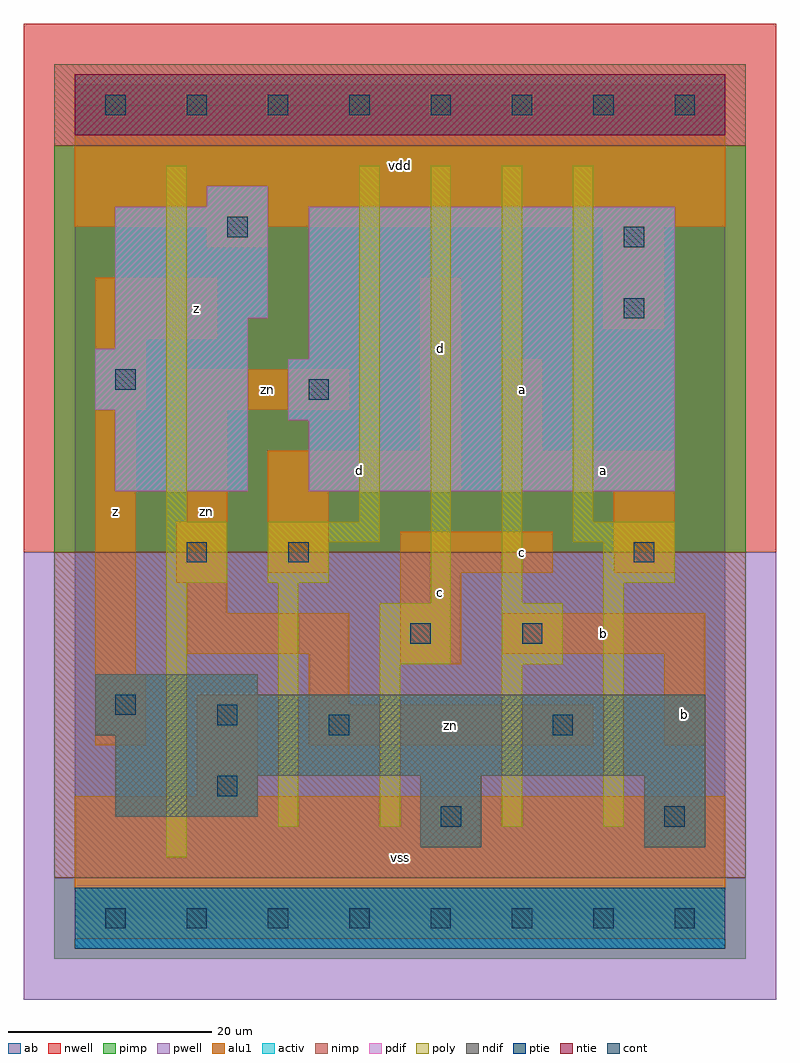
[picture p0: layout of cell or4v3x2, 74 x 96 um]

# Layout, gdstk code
import gdstk
lib = gdstk.Library(unit=1e-6, precision=1e-09)
def R(c, l, rs):  # rectangles x0, y0, x1, y1
    for r in rs: c.add(gdstk.rectangle(r[:2], r[2:], *l))
def A(c, l, x, y, w, h, nx, ny, dx, dy):  # array of equal rectangles
    R(c, l, [(x+i*dx, y+j*dy, x+i*dx+w, y+j*dy+h) for i in range(nx) for j in range(ny)])
ndif = (3, 0)
pdif = (4, 0)
ntie = (5, 0)
ptie = (6, 0)
cont = (25, 0)
pwell = (41, 0)
nwell = (42, 0)
activ = (43, 0)
pimp = (44, 0)
nimp = (45, 0)
poly = (46, 0)
alu1 = (49, 0)
ab = (63, 0)

or4v3x2 = lib.new_cell('or4v3x2')
R(or4v3x2, ndif, [(34,7,40,14), (56,7,62,14), (4,10,18,14), (4,14,62,18), (2,18,62,22), (2,22,18,24)])
R(or4v3x2, pdif, [(4,42,17,50), (23,42,59,49), (21,49,59,55), (2,50,17,56), (23,55,59,70), (4,56,17,59), (4,59,19,70), (13,70,19,72)])
R(or4v3x2, ntie, [(0,77,64,83)])
R(or4v3x2, ptie, [(0,-3,64,3)])
A(or4v3x2, cont, 3, -1, 2, 2, 8, 2, 8, 80)
R(or4v3x2, cont, [(36,9,38,11), (58,9,60,11), (14,12,16,14), (25,18,27,20), (47,18,49,20), (14,19,16,21), (4,20,6,22), (33,27,35,29), (44,27,46,29), (11,35,13,37), (21,35,23,37), (55,35,57,37), (23,51,25,53), (4,52,6,54), (54,59,56,61), (54,66,56,68), (15,67,17,69)])
R(or4v3x2, pwell, [(-5,-8,69,36)])
R(or4v3x2, nwell, [(-5,36,69,88)])
R(or4v3x2, activ, [(0,-3,64,3), (34,7,40,14), (56,7,62,14), (4,10,18,14), (4,14,62,18), (2,18,62,22), (2,22,18,24), (4,42,17,50), (23,42,59,49), (21,49,59,55), (2,50,17,56), (23,55,59,70), (4,56,17,59), (4,59,19,70), (13,70,19,72), (0,77,64,83)])
R(or4v3x2, pimp, [(-2,-4,66,4), (-2,36,66,76)])
R(or4v3x2, nimp, [(-2,4,66,36), (-2,76,66,84)])
R(or4v3x2, poly, [(9,6,11,33), (20,9,22,33), (30,9,32,25), (42,9,44,25), (52,9,54,33), (30,25,37,31), (42,25,48,31), (35,31,37,74), (42,31,44,74), (9,33,15,39), (19,33,25,37), (52,33,59,37), (19,37,30,39), (49,37,59,39), (9,39,11,74), (28,39,30,74), (49,39,51,74)])
R(or4v3x2, alu1, [(0,-2,64,12), (12,12,18,22), (2,17,7,24), (23,17,51,21), (58,17,62,26), (23,21,27,26), (2,24,6,50), (32,25,38,34), (11,26,27,30), (42,26,62,30), (11,30,15,33), (10,33,15,39), (19,34,25,42), (32,34,47,38), (53,34,59,42), (11,39,15,50), (19,42,38,46), (42,42,59,46), (34,46,38,63), (42,46,46,55), (2,50,7,57), (11,50,27,54), (2,57,14,63), (52,58,58,68), (13,66,19,68), (0,68,64,82)])
R(or4v3x2, ab, [(0,0,64,80)])
or4v3x2.add(gdstk.Label('zn', (13,40), layer=49, texttype=0))
or4v3x2.add(gdstk.Label('zn', (19,52), layer=49, texttype=0))
or4v3x2.add(gdstk.Label('zn', (37,19), layer=49, texttype=0))
or4v3x2.add(gdstk.Label('z', (4,40), layer=49, texttype=0))
or4v3x2.add(gdstk.Label('z', (12,60), layer=49, texttype=0))
or4v3x2.add(gdstk.Label('d', (28,44), layer=49, texttype=0))
or4v3x2.add(gdstk.Label('vss', (32,6), layer=49, texttype=0))
or4v3x2.add(gdstk.Label('c', (36,32), layer=49, texttype=0))
or4v3x2.add(gdstk.Label('c', (44,36), layer=49, texttype=0))
or4v3x2.add(gdstk.Label('d', (36,56), layer=49, texttype=0))
or4v3x2.add(gdstk.Label('a', (44,52), layer=49, texttype=0))
or4v3x2.add(gdstk.Label('vdd', (32,74), layer=49, texttype=0))
or4v3x2.add(gdstk.Label('b', (60,20), layer=49, texttype=0))
or4v3x2.add(gdstk.Label('b', (52,28), layer=49, texttype=0))
or4v3x2.add(gdstk.Label('a', (52,44), layer=49, texttype=0))

lib.write_gds('or4v3x2.gds')
